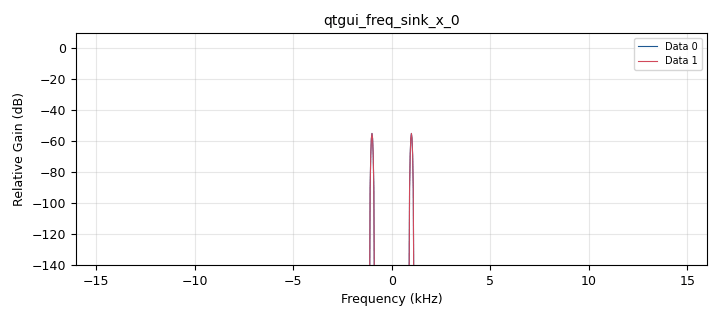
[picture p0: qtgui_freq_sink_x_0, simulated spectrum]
options:
  parameters:
    author: Rachit Garg
    description: Multiply the signal by a constant value and then see the dBs in frequency sink
    generate_options: qt_gui
    id: gain_db
    output_language: python
    title: Gain dB
  states: {}

blocks:
- name: gain_val
  id: variable_qtgui_range
  parameters:
    start: '0.1'
    step: '0.1'
    stop: '10'
    value: '1'
  states: {}
- name: samp_rate
  id: variable
  parameters:
    value: '32000'
  states: {}
- name: analog_sig_source_x_0
  id: analog_sig_source_x
  parameters:
    amp: '0.01'
    freq: '1000'
    offset: '0'
    phase: '0'
    samp_rate: samp_rate
    type: float
    waveform: analog.GR_COS_WAVE
  states: {}
- name: audio_sink_0
  id: audio_sink
  parameters:
    samp_rate: samp_rate
  states: {}
- name: blocks_multiply_const_vxx_0
  id: blocks_multiply_const_vxx
  parameters:
    const: gain_val
    type: float
  states: {}
- name: qtgui_freq_sink_x_0
  id: qtgui_freq_sink_x
  parameters:
    bw: samp_rate
    fc: '0'
    fftsize: '1024'
    nconnections: '2'
    type: float
  states: {}
- name: qtgui_time_sink_x_0
  id: qtgui_time_sink_x
  parameters:
    name: '"Output"'
    size: '1024'
    srate: samp_rate
    type: float
    ymax: '0.1'
    ymin: '-0.1'
  states: {state: disabled}
- name: qtgui_time_sink_x_0_0
  id: qtgui_time_sink_x
  parameters:
    name: '"Input"'
    size: '1024'
    srate: samp_rate
    type: float
    ymax: '0.1'
    ymin: '-0.1'
  states: {state: disabled}

connections:
- [analog_sig_source_x_0, '0', blocks_multiply_const_vxx_0, '0']
- [analog_sig_source_x_0, '0', qtgui_freq_sink_x_0, '0']
- [analog_sig_source_x_0, '0', qtgui_time_sink_x_0_0, '0']
- [blocks_multiply_const_vxx_0, '0', audio_sink_0, '0']
- [blocks_multiply_const_vxx_0, '0', qtgui_freq_sink_x_0, '1']
- [blocks_multiply_const_vxx_0, '0', qtgui_time_sink_x_0, '0']

metadata:
  file_format: 1
  grc_version: 3.10.12.0
